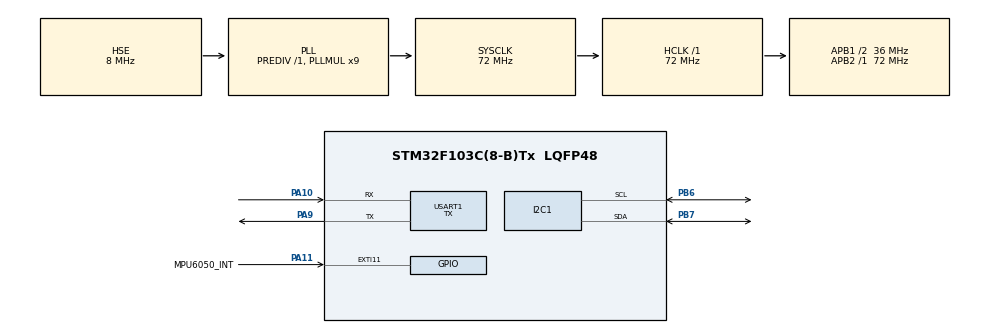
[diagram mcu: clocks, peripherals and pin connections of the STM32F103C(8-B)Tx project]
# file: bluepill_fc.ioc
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FREERTOS.Queues01=AngularRateQueue,8,32,1,Dynamic,NULL,NULL
FREERTOS.Tasks01=DebugTask,8,256,DebugTask_Start,Default,NULL,Dynamic,NULL,NULL;SensorReadTask,24,256,SensorReadTask_Start,Default,NULL,Dynamic,NULL,NULL;OrientationTask,24,256,OrientationTask_Start,Default,NULL,Dynamic,NULL,NULL
FREERTOS.configTOTAL_HEAP_SIZE=8192
Mcu.Family=STM32F1
Mcu.Name=STM32F103C(8-B)Tx
Mcu.Package=LQFP48
NVIC.EXTI15_10_IRQn=true\:5\:0\:false\:false\:true\:true\:true\:true\:false
NVIC.PriorityGroup=NVIC_PRIORITYGROUP_4
NVIC.TIM4_IRQn=true\:15\:0\:false\:false\:true\:false\:false\:true\:true
NVIC.TimeBase=TIM4_IRQn
NVIC.TimeBaseIP=TIM4
PA10.Mode=Asynchronous
PA10.Signal=USART1_RX
PA11.GPIO_Label=MPU6050_INT
PA11.GPIO_ModeDefaultEXTI=GPIO_MODE_IT_RISING
PA11.GPIO_PuPd=GPIO_PULLDOWN
PA11.Signal=GPXTI11
PA13.Mode=Serial_Wire
PA13.Signal=SYS_JTMS-SWDIO
PA14.Mode=Serial_Wire
PA14.Signal=SYS_JTCK-SWCLK
PA9.Mode=Asynchronous
PA9.Signal=USART1_TX
PB6.Mode=I2C
PB6.Signal=I2C1_SCL
PB7.Mode=I2C
PB7.Signal=I2C1_SDA
PD0-OSC_IN.Mode=HSE-External-Oscillator
PD0-OSC_IN.Signal=RCC_OSC_IN
PD1-OSC_OUT.Mode=HSE-External-Oscillator
PD1-OSC_OUT.Signal=RCC_OSC_OUT
ProjectManager.HeapSize=0x200
ProjectManager.StackSize=0x400
ProjectManager.TargetToolchain=STM32CubeIDE
RCC.AHBFreq_Value=72000000
RCC.APB1CLKDivider=RCC_HCLK_DIV2
RCC.APB1Freq_Value=36000000
RCC.APB1TimFreq_Value=72000000
RCC.APB2Freq_Value=72000000
RCC.APB2TimFreq_Value=72000000
RCC.HCLKFreq_Value=72000000
RCC.PLLMUL=RCC_PLL_MUL9
RCC.PLLSourceVirtual=RCC_PLLSOURCE_HSE
RCC.SYSCLKFreq_VALUE=72000000
RCC.SYSCLKSource=RCC_SYSCLKSOURCE_PLLCLK
RCC.USBFreq_Value=72000000
USART1.Mode=MODE_TX
USART1.VirtualMode=VM_ASYNC
VP_FREERTOS_VS_CMSIS_V2.Mode=CMSIS_V2
VP_SYS_VS_tim4.Mode=TIM4
board=custom

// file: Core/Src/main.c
/* USER CODE BEGIN Header */
/**
  ******************************************************************************
  * @file           : main.c
  * @brief          : Main program body
  ******************************************************************************
  * @attention
  *
  * Copyright (c) 2026 STMicroelectronics.
  * All rights reserved.
  *
  * This software is licensed under terms that can be found in the LICENSE file
  * in the root directory of this software component.
  * If no LICENSE file comes with this software, it is provided AS-IS.
  *
  ******************************************************************************
  */
/* USER CODE END Header */
#include "main.h"
#include "cmsis_os.h"

/* USER CODE BEGIN Includes */

#include <stdio.h>
#include <string.h>
#include "mpu6050.h"
#include "orientation.h"

/* USER CODE END Includes */

I2C_HandleTypeDef hi2c1;

UART_HandleTypeDef huart1;

/* Definitions for DebugTask */
osThreadId_t DebugTaskHandle;
const osThreadAttr_t DebugTask_attributes = {
  .name = "DebugTask",
  .stack_size = 256 * 4,
  .priority = (osPriority_t) osPriorityLow,
};
/* Definitions for SensorReadTask */
osThreadId_t SensorReadTaskHandle;
const osThreadAttr_t SensorReadTask_attributes = {
  .name = "SensorReadTask",
  .stack_size = 256 * 4,
  .priority = (osPriority_t) osPriorityNormal,
};
/* Definitions for OrientationTask */
osThreadId_t OrientationTaskHandle;
const osThreadAttr_t OrientationTask_attributes = {
  .name = "OrientationTask",
  .stack_size = 256 * 4,
  .priority = (osPriority_t) osPriorityNormal,
};
/* Definitions for AngularRateQueue */
osMessageQueueId_t AngularRateQueueHandle;
const osMessageQueueAttr_t AngularRateQueue_attributes = {
  .name = "AngularRateQueue"
};
/* USER CODE BEGIN PV */

MPU6050_Handle_t hmpu;
Orientation_Handle_t ho;

/* USER CODE END PV */

void SystemClock_Config(void);
static void MX_GPIO_Init(void);
static void MX_I2C1_Init(void);
static void MX_USART1_UART_Init(void);
void DebugTask_Start(void *argument);
void SensorReadTask_Start(void *argument);
void OrientationTask_Start(void *argument);

int main(void)
{

  /* MCU Configuration--------------------------------------------------------*/

  /* Reset of all peripherals, Initializes the Flash interface and the Systick. */
  HAL_Init();

  /* Configure the system clock */
  SystemClock_Config();

  /* Initialize all configured peripherals */
  MX_GPIO_Init();
  MX_I2C1_Init();
  MX_USART1_UART_Init();
  /* USER CODE BEGIN 2 */

  //Ensure MPU boots up completely
  HAL_Delay(10);
  //MPU6050 Inits
  if (MPU6050_Init(&hmpu, &hi2c1, MPU6050_I2C_ADDRESS) != MPU6050_OK)
  {
	  Error_Handler();
  }

  if (MPU6050_DisableInterrupt(&hmpu, ALL_INT) != MPU6050_OK)
  {
	  Error_Handler();
  }
  if (MPU6050_InterruptConfig(&hmpu, INT_LEVEL_ACTIVE_HIGH) != MPU6050_OK)
  {
	  Error_Handler();
  }
  if (MPU6050_EnableInterrupt(&hmpu, RAW_RDY_INT) != MPU6050_OK)
  {
	  Error_Handler();
  }
  if (MPU6050_ConfigureLowPassFilter(&hmpu, DLPF_CFG_21HZ) != MPU6050_OK)
  {
	  Error_Handler();
  }
  //to make interrupts less frequent
  if (MPU6050_SetSampleRatePrescaler(&hmpu, 10 - 1) != MPU6050_OK)
  {
	  Error_Handler();
  }

  MPU6050_AccelCalibration(&hmpu, 100);
  MPU6050_GyroCalibration(&hmpu, 100);
  MPU6050_GetAndClearInterruptStatus(&hmpu);

  /* USER CODE END 2 */

  /* Init scheduler */
  osKernelInitialize();

  /* Create the queue(s) */
  /* creation of AngularRateQueue */
  AngularRateQueueHandle = osMessageQueueNew (8, 32, &AngularRateQueue_attributes);

  /* Create the thread(s) */
  /* creation of DebugTask */
  DebugTaskHandle = osThreadNew(DebugTask_Start, NULL, &DebugTask_attributes);

  /* creation of SensorReadTask */
  SensorReadTaskHandle = osThreadNew(SensorReadTask_Start, NULL, &SensorReadTask_attributes);

  /* creation of OrientationTask */
  OrientationTaskHandle = osThreadNew(OrientationTask_Start, NULL, &OrientationTask_attributes);

  /* USER CODE BEGIN RTOS_EVENTS */

  //To start handling interrupts
  HAL_NVIC_EnableIRQ(EXTI15_10_IRQn);
  /* add events, ... */
  /* USER CODE END RTOS_EVENTS */

  /* Start scheduler */
  osKernelStart();

  /* We should never get here as control is now taken by the scheduler */

  /* Infinite loop */
  while (1)
  {

  }
}

void SystemClock_Config(void)
{
  RCC_OscInitTypeDef RCC_OscInitStruct = {0};
  RCC_ClkInitTypeDef RCC_ClkInitStruct = {0};

  /** Initializes the RCC Oscillators according to the specified parameters
  * in the RCC_OscInitTypeDef structure.
  */
  RCC_OscInitStruct.OscillatorType = RCC_OSCILLATORTYPE_HSE;
  RCC_OscInitStruct.HSEState = RCC_HSE_ON;
  RCC_OscInitStruct.HSEPredivValue = RCC_HSE_PREDIV_DIV1;
  RCC_OscInitStruct.HSIState = RCC_HSI_ON;
  RCC_OscInitStruct.PLL.PLLState = RCC_PLL_ON;
  RCC_OscInitStruct.PLL.PLLSource = RCC_PLLSOURCE_HSE;
  RCC_OscInitStruct.PLL.PLLMUL = RCC_PLL_MUL9;
  if (HAL_RCC_OscConfig(&RCC_OscInitStruct) != HAL_OK)
  {
    Error_Handler();
  }

  /** Initializes the CPU, AHB and APB buses clocks
  */
  RCC_ClkInitStruct.ClockType = RCC_CLOCKTYPE_HCLK|RCC_CLOCKTYPE_SYSCLK
                              |RCC_CLOCKTYPE_PCLK1|RCC_CLOCKTYPE_PCLK2;
  RCC_ClkInitStruct.SYSCLKSource = RCC_SYSCLKSOURCE_PLLCLK;
  RCC_ClkInitStruct.AHBCLKDivider = RCC_SYSCLK_DIV1;
  RCC_ClkInitStruct.APB1CLKDivider = RCC_HCLK_DIV2;
  RCC_ClkInitStruct.APB2CLKDivider = RCC_HCLK_DIV1;

  if (HAL_RCC_ClockConfig(&RCC_ClkInitStruct, FLASH_LATENCY_2) != HAL_OK)
  {
    Error_Handler();
  }
}

static void MX_I2C1_Init(void)
{

  hi2c1.Instance = I2C1;
  hi2c1.Init.ClockSpeed = 100000;
  hi2c1.Init.DutyCycle = I2C_DUTYCYCLE_2;
  hi2c1.Init.OwnAddress1 = 0;
  hi2c1.Init.AddressingMode = I2C_ADDRESSINGMODE_7BIT;
  hi2c1.Init.DualAddressMode = I2C_DUALADDRESS_DISABLE;
  hi2c1.Init.OwnAddress2 = 0;
  hi2c1.Init.GeneralCallMode = I2C_GENERALCALL_DISABLE;
  hi2c1.Init.NoStretchMode = I2C_NOSTRETCH_DISABLE;
  if (HAL_I2C_Init(&hi2c1) != HAL_OK)
  {
    Error_Handler();
  }

}

static void MX_USART1_UART_Init(void)
{

  huart1.Instance = USART1;
  huart1.Init.BaudRate = 115200;
  huart1.Init.WordLength = UART_WORDLENGTH_8B;
  huart1.Init.StopBits = UART_STOPBITS_1;
  huart1.Init.Parity = UART_PARITY_NONE;
  huart1.Init.Mode = UART_MODE_TX;
  huart1.Init.HwFlowCtl = UART_HWCONTROL_NONE;
  huart1.Init.OverSampling = UART_OVERSAMPLING_16;
  if (HAL_UART_Init(&huart1) != HAL_OK)
  {
    Error_Handler();
  }

}

static void MX_GPIO_Init(void)
{
  GPIO_InitTypeDef GPIO_InitStruct = {0};

  /* GPIO Ports Clock Enable */
  __HAL_RCC_GPIOD_CLK_ENABLE();
  __HAL_RCC_GPIOA_CLK_ENABLE();
  __HAL_RCC_GPIOB_CLK_ENABLE();

  /*Configure GPIO pin : MPU6050_INT_Pin */
  GPIO_InitStruct.Pin = MPU6050_INT_Pin;
  GPIO_InitStruct.Mode = GPIO_MODE_IT_RISING;
  GPIO_InitStruct.Pull = GPIO_PULLDOWN;
  HAL_GPIO_Init(MPU6050_INT_GPIO_Port, &GPIO_InitStruct);

  /* EXTI interrupt init*/
  HAL_NVIC_SetPriority(EXTI15_10_IRQn, 5, 0);

}

/* USER CODE BEGIN 4 */

void HAL_GPIO_EXTI_Callback(uint16_t GPIO_Pin)
{
	BaseType_t xHigherPriorityTaskWoken = pdFALSE;

	if (GPIO_Pin == MPU6050_INT_Pin)
	{
		if (SensorReadTaskHandle) // Check if MPU is ready and task exists
		{
			// Only notify the task. Do NO I2C operations here.
			xTaskNotifyFromISR((TaskHandle_t)SensorReadTaskHandle, 0, eNoAction, &xHigherPriorityTaskWoken);
		}
	}
	portYIELD_FROM_ISR(xHigherPriorityTaskWoken);
}

/* USER CODE END 4 */

void DebugTask_Start(void *argument)
{
  /* USER CODE BEGIN 5 */
  /* Infinite loop */
	char msg[64];
  for(;;)
  {
    sprintf(msg, "Roll: %0.2f, Pitch: %0.2f\r\n", ho.roll, ho.pitch);
    HAL_UART_Transmit(&huart1, (uint8_t*)msg, strlen(msg), HAL_MAX_DELAY);
    osDelay(100);
  }
  /* USER CODE END 5 */
}

void SensorReadTask_Start(void *argument)
{
  /* USER CODE BEGIN SensorReadTask_Start */
	MPU6050_Data_t MPU_data;
	uint8_t mpu_int_status;
	uint32_t previous_tick = osKernelGetTickCount();
	uint32_t current_tick;
	float dt;

	/* Infinite loop */
	for (;;) {
		// Enter blocked state until direct notification received from ISR
		xTaskNotifyWait(0, 0, NULL, portMAX_DELAY);
		current_tick = osKernelGetTickCount();
		dt = (current_tick - previous_tick) / 1000.0f;
		previous_tick = current_tick;

		// Now in task context, safe to do I2C read to get interrupt status
		mpu_int_status = MPU6050_GetAndClearInterruptStatus(&hmpu);

		if (mpu_int_status & RAW_RDY_INT) {
			if (MPU6050_Read(&hmpu, &MPU_data) != MPU6050_OK) {
				continue;
			}
			MPU_data.dt = dt;
			//send to orientation task
			osMessageQueuePut(AngularRateQueueHandle, &MPU_data, 0, 0);
		}
		// else if (mpu_int_status & OTHER_INT_FLAG) { handle other interrupt types }
	}
  /* USER CODE END SensorReadTask_Start */
}

void OrientationTask_Start(void *argument)
{
  /* USER CODE BEGIN OrientationTask_Start */
  /* Infinite loop */
 	MPU6050_Data_t mpu_data;
  for(;;)
  {
    osMessageQueueGet(AngularRateQueueHandle, &mpu_data, NULL, osWaitForever);
    Orientation_Update(&ho, &mpu_data);
  }
  /* USER CODE END OrientationTask_Start */
}

void HAL_TIM_PeriodElapsedCallback(TIM_HandleTypeDef *htim)
{
  if (htim->Instance == TIM4) {
    HAL_IncTick();
  }
}

void Error_Handler(void)
{
  __disable_irq();
  while (1)
  {
  }
}
